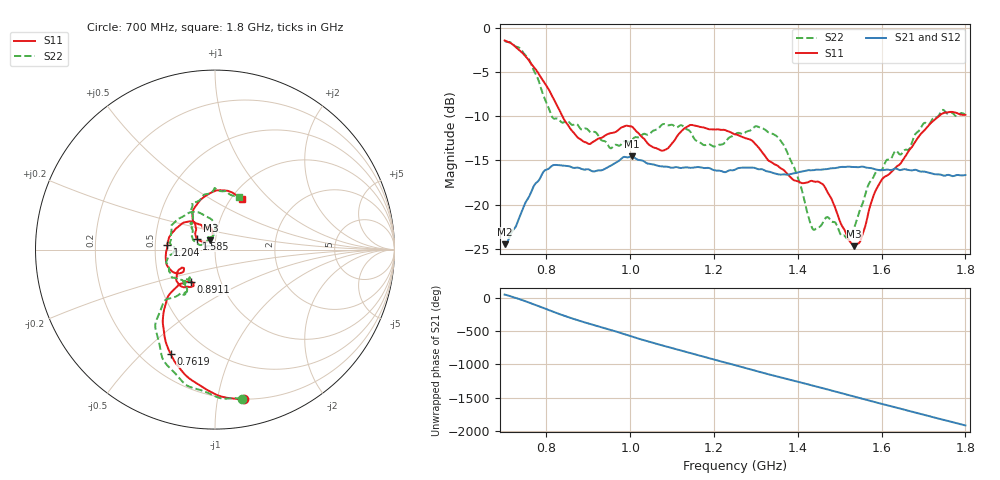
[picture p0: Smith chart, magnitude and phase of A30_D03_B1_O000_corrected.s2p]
! Created with skrf 1.9.0 (http://scikit-rf.org).
# Hz S RI R 50.0
!freq ReS11 ImS11 ReS21 ImS21 ReS12 ImS12 ReS22 ImS22
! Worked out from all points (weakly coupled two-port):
!   1601 points, 700 MHz to 1.8 GHz, reference 50 ohm
!   highest |S21| = -14.54 dB at 1.004 GHz (marker M1); lowest = -24.5 dB at 701.4 MHz (marker M2)
!   lowest |S11| = -24.7 dB at 1.535 GHz (marker M3), VSWR 1.12, Z = 47.3 + j4.96 ohm
!   |S11| at or under -10 dB: 838 MHz to 1.736 GHz (898.1 MHz wide, 69.8 % of centre)
!   |S22| runs from -23.9 to -1.5 dB; largest |S21 - S12| = 0.0034
!   S11 on the Smith chart (normalised r, x): 700 MHz: 0.20, -1.19; 761.9 MHz: 0.32, -0.62; 891.1 MHz: 0.72, -0.27; 1.204 GHz: 0.58, +0.03; 1.585 GHz: 0.81, +0.10; 1.8 GHz: 1.12, +0.71
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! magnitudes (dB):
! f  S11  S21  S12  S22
! 700 MHz  -1.4  -24.5  -24.3  -1.5
! 701.4 MHz  -1.4  -24.5  -24.1  -1.5
! 761.9 MHz  -4.0  -18.8  -18.7  -3.9
! 814.8 MHz  -7.8  -15.6  -15.6  -10.2
! 883.6 MHz  -12.7  -16.0  -15.9  -11.5
! 891.1 MHz  -12.9  -16.0  -16.0  -11.4
! 953 MHz  -11.9  -15.6  -15.6  -13.6
! 1.004 GHz  -11.2  -14.5  -14.7  -12.7
! 1.067 GHz  -13.7  -15.6  -15.6  -11.4
! 1.142 GHz  -11.0  -15.8  -15.8  -11.7
! 1.204 GHz  -11.5  -16.1  -16.2  -13.4
! 1.25 GHz  -12.1  -16.0  -16.0  -12.1
! 1.357 GHz  -15.8  -16.6  -16.5  -12.6
! 1.396 GHz  -17.3  -16.4  -16.4  -16.4
! 1.434 GHz  -17.3  -16.1  -16.1  -22.6
! 1.464 GHz  -18.0  -16.0  -16.0  -21.7
! 1.519 GHz  -23.7  -15.7  -15.7  -23.9
! 1.535 GHz  -24.7  -15.7  -15.8  -22.6
! 1.585 GHz  -18.5  -16.0  -16.0  -16.5
! 1.617 GHz  -16.6  -16.1  -16.0  -14.9
! 1.738 GHz  -9.9  -16.6  -16.6  -9.8
! 1.8 GHz  -9.8  -16.7  -16.7  -9.9
